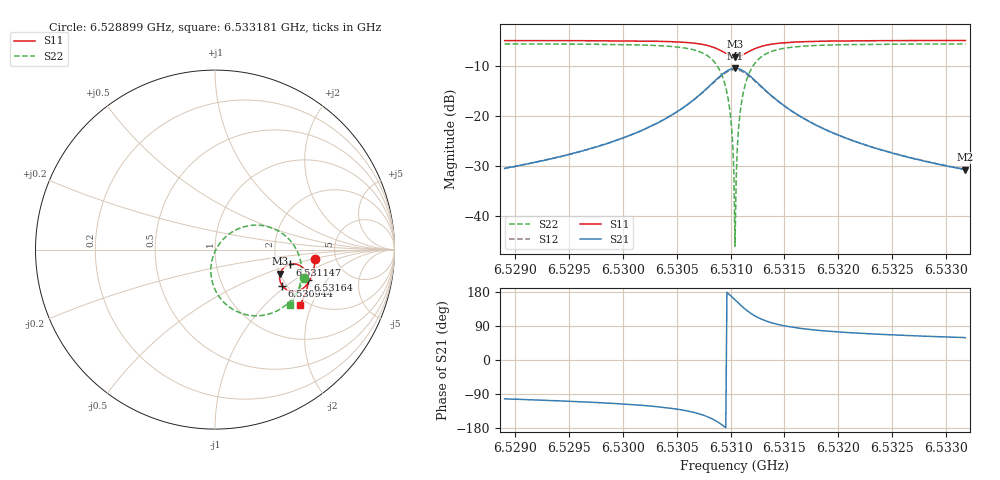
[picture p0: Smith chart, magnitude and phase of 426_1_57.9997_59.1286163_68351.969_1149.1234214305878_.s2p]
#  HZ  S  RI  R  50.00
! Rohde & Schwarz Vector Network Analyzer
! Rohde-Schwarz,ZNB20-2Port,1311601062101988,3.16
! Created: UTC 3/21/2024, 1:09:20 AM
! freq[Hz]  re:S11  im:S11  re:S21  im:S21  re:S12  im:S12  re:S22  im:S22
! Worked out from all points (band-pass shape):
!   401 points, 6.528899 GHz to 6.533181 GHz, reference 50 ohm
!   highest |S21| = -10.54 dB at 6.53104 GHz (marker M1); lowest = -30.7 dB at 6.533181 GHz (marker M2)
!   |S21| within 3 dB of the highest: 6.530828 GHz to 6.531255 GHz (427.9 kHz wide, 0.00655 % of centre)
!   lowest |S11| = -8.2 dB at 6.53104 GHz (marker M3), VSWR 2.26, Z = 100 - j31.7 ohm
!   |S11| at or under -10 dB: nowhere
!   |S22| runs from -45.9 to -5.7 dB; largest |S21 - S12| = 0.011
!   S11 on the Smith chart (normalised r, x): 6.528899 GHz: 3.46, -0.54; 6.530944 GHz: 1.90, -0.93; 6.531147 GHz: 2.36, -0.48; 6.53164 GHz: 2.71, -1.29; 6.533181 GHz: 1.82, -1.65
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6.5288993e9  0.5585 -0.0536  -0.00651 -0.0293  -0.0071 -0.0293  0.4963 -0.1566
6.5296165e9  0.5487 -0.1128  -0.0155 -0.0419  -0.0165 -0.0417  0.4668 -0.2225
6.5303337e9  0.5209 -0.1828  -0.048 -0.072  -0.0499 -0.0708  0.3882 -0.3146
6.5307619e9  0.4521 -0.2322  -0.1521 -0.0978  -0.1545 -0.0917  0.1874 -0.3654
6.530869e9  0.4088 -0.2277  -0.2197 -0.0727  -0.2191 -0.0639  0.0719 -0.314
6.5309439e9  0.3748 -0.2016  -0.2698 -0.0165  -0.2647 -0.0071  -0.00493 -0.2112
6.530976e9  0.3644 -0.1822  -0.2833 0.0208  -0.2759 0.0292  -0.0216 -0.1469
6.5309974e9  0.3607 -0.167  -0.2868 0.0491  -0.278 0.0561  -0.0229 -0.0995
6.5310081e9  0.3599 -0.1589  -0.2866 0.0639  -0.2774 0.0699  -0.0202 -0.0753
6.5310188e9  0.3601 -0.1507  -0.2849 0.0787  -0.2751 0.0841  -0.0149 -0.0511
6.5310295e9  0.3611 -0.1426  -0.2816 0.0934  -0.2716 0.0978  -0.00729 -0.0271
6.5310402e9  0.3629 -0.1345  -0.2769 0.1078  -0.2667 0.1113  0.00273 -0.00427
6.5310616e9  0.3693 -0.1193  -0.2635 0.135  -0.2531 0.1368  0.0292 0.0381
6.5310724e9  0.3737 -0.1124  -0.2548 0.1473  -0.2448 0.1481  0.0454 0.0571
6.5310938e9  0.3843 -0.1003  -0.2345 0.1686  -0.2254 0.1679  0.0818 0.0889
6.5311473e9  0.4164 -0.0826  -0.1761 0.2003  -0.1696 0.1975  0.1835 0.1321
6.5312115e9  0.4527 -0.0818  -0.1119 0.2045  -0.1082 0.2014  0.2922 0.1283
6.5313079e9  0.489 -0.1001  -0.0488 0.1797  -0.0471 0.1779  0.3959 0.0735
6.5316397e9  0.519 -0.1674  0.0109 0.0994  0.012 0.099  0.4816 -0.0933
6.5317574e9  0.5186 -0.1842  0.0149 0.0833  0.016 0.0833  0.4829 -0.1283
6.5324747e9  0.4987 -0.2562  0.0173 0.04  0.0179 0.0397  0.4553 -0.2447
6.5331812e9  0.4711 -0.3083  0.0152 0.025  0.0156 0.0249  0.4203 -0.3064
